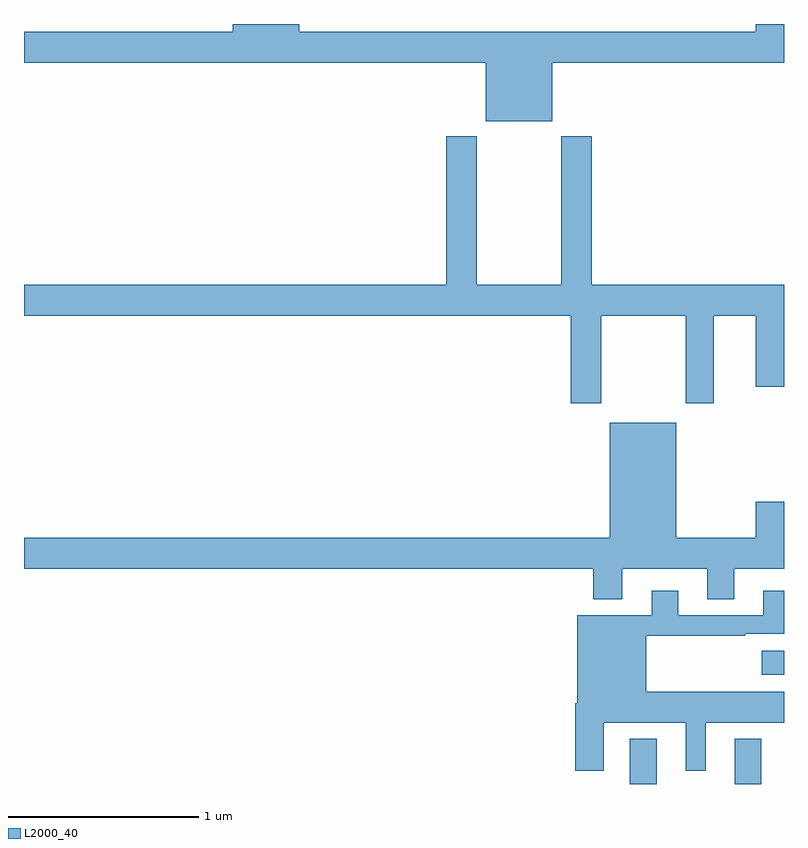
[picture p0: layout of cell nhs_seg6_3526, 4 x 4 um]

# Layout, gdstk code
import gdstk
lib = gdstk.Library(unit=1e-6, precision=1e-09)
def R(c, l, rs):  # rectangles x0, y0, x1, y1
    for r in rs: c.add(gdstk.rectangle(r[:2], r[2:], *l))
def P(c, l, *ps):  # polygons
    for p in ps: c.add(gdstk.Polygon(p, *l))
L2000_40 = (2000, 40)

nhs_seg6_3526 = lib.new_cell('nhs_seg6_3526')
R(nhs_seg6_3526, L2000_40, [(320.189,983.5,320.329,983.737), (320.741,983.5,320.881,983.737), (320.883,984.074,321,984.202)])
P(nhs_seg6_3526, L2000_40, [(319.78,987.296),(321,987.296),(321,987.5),(320.852,987.5),(320.852,987.46),(318.448,987.46),(318.448,987.5),(318.098,987.5),(318.098,987.46),(317,987.46),(317,987.296),(319.43,987.296),(319.43,986.987),(319.78,986.987)],
  [(320.037,985.964),(320.482,985.964),(320.482,985.503),(320.629,985.503),(320.629,985.964),(320.852,985.964),(320.852,985.59),(321,985.59),(321,986.128),(319.988,986.128),(319.988,986.908),(319.828,986.908),(319.828,986.128),(319.383,986.128),(319.383,986.908),(319.223,986.908),(319.223,986.128),(317,986.128),(317,985.964),(319.877,985.964),(319.877,985.503),(320.037,985.503)],
  [(320.737,984.632),(321,984.632),(321,984.985),(320.852,984.985),(320.852,984.796),(320.434,984.796),(320.434,985.402),(320.084,985.402),(320.084,984.796),(317,984.796),(317,984.632),(319.997,984.632),(319.997,984.473),(320.149,984.473),(320.149,984.632),(320.597,984.632),(320.597,984.472),(320.737,984.472)],
  [(320.05,983.822),(320.483,983.822),(320.483,983.571),(320.587,983.571),(320.587,983.822),(321,983.822),(321,983.986),(320.275,983.986),(320.275,984.279),(320.795,984.279),(320.795,984.291),(321,984.291),(321,984.517),(320.891,984.517),(320.891,984.387),(320.443,984.387),(320.443,984.517),(320.303,984.517),(320.303,984.388),(319.913,984.388),(319.913,983.926),(319.901,983.926),(319.901,983.571),(320.05,983.571)])

lib.write_gds('nhs_seg6_3526.gds')
